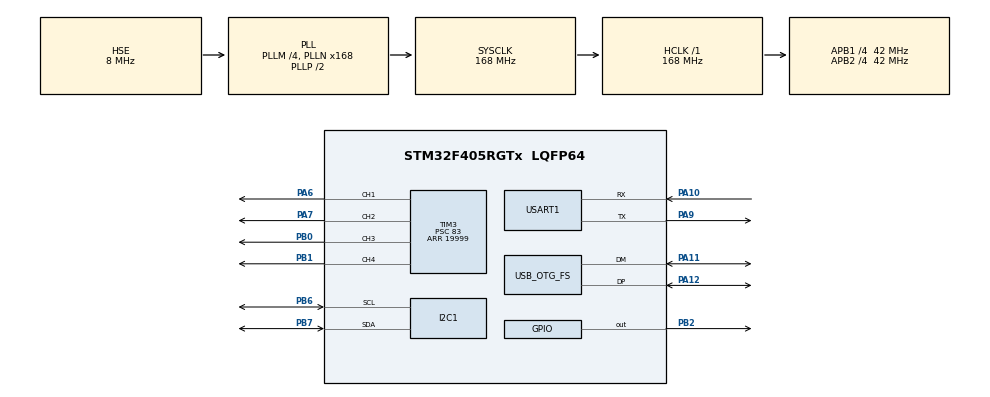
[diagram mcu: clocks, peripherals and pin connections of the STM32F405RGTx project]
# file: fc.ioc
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Dma.I2C1_RX.1.Direction=DMA_PERIPH_TO_MEMORY
Dma.I2C1_RX.1.FIFOMode=DMA_FIFOMODE_DISABLE
Dma.I2C1_RX.1.Instance=DMA1_Stream5
Dma.I2C1_RX.1.MemDataAlignment=DMA_MDATAALIGN_BYTE
Dma.I2C1_RX.1.MemInc=DMA_MINC_ENABLE
Dma.I2C1_RX.1.Mode=DMA_NORMAL
Dma.I2C1_RX.1.PeriphDataAlignment=DMA_PDATAALIGN_BYTE
Dma.I2C1_RX.1.PeriphInc=DMA_PINC_DISABLE
Dma.I2C1_RX.1.Priority=DMA_PRIORITY_HIGH
Dma.Request0=USART1_RX
Dma.Request1=I2C1_RX
Dma.USART1_RX.0.Direction=DMA_PERIPH_TO_MEMORY
Dma.USART1_RX.0.FIFOMode=DMA_FIFOMODE_DISABLE
Dma.USART1_RX.0.Instance=DMA2_Stream2
Dma.USART1_RX.0.MemDataAlignment=DMA_MDATAALIGN_BYTE
Dma.USART1_RX.0.MemInc=DMA_MINC_ENABLE
Dma.USART1_RX.0.Mode=DMA_CIRCULAR
Dma.USART1_RX.0.PeriphDataAlignment=DMA_PDATAALIGN_BYTE
Dma.USART1_RX.0.PeriphInc=DMA_PINC_DISABLE
Dma.USART1_RX.0.Priority=DMA_PRIORITY_HIGH
Mcu.Family=STM32F4
Mcu.Name=STM32F405RGTx
Mcu.Package=LQFP64
NVIC.DMA1_Stream5_IRQn=true\:0\:0\:false\:false\:true\:false\:true\:true
NVIC.DMA2_Stream2_IRQn=true\:0\:0\:false\:false\:true\:false\:true\:true
NVIC.OTG_FS_IRQn=true\:0\:0\:false\:false\:true\:false\:true\:true
NVIC.PriorityGroup=NVIC_PRIORITYGROUP_4
PA10.Mode=Asynchronous
PA10.Signal=USART1_RX
PA11.Mode=Device_Only
PA11.Signal=USB_OTG_FS_DM
PA12.Mode=Device_Only
PA12.Signal=USB_OTG_FS_DP
PA13.Mode=Serial_Wire
PA13.Signal=SYS_JTMS-SWDIO
PA14.Mode=Serial_Wire
PA14.Signal=SYS_JTCK-SWCLK
PA6.Signal=S_TIM3_CH1
PA7.Signal=S_TIM3_CH2
PA9.Mode=Asynchronous
PA9.Signal=USART1_TX
PB0.Signal=S_TIM3_CH3
PB1.Signal=S_TIM3_CH4
PB2.Signal=GPIO_Output
PB6.Mode=I2C
PB6.Signal=I2C1_SCL
PB7.Mode=I2C
PB7.Signal=I2C1_SDA
PH0-OSC_IN.Mode=HSE-External-Oscillator
PH0-OSC_IN.Signal=RCC_OSC_IN
PH1-OSC_OUT.Mode=HSE-External-Oscillator
PH1-OSC_OUT.Signal=RCC_OSC_OUT
ProjectManager.HeapSize=0x200
ProjectManager.StackSize=0x400
ProjectManager.TargetToolchain=STM32CubeIDE
RCC.48MHZClocksFreq_Value=48000000
RCC.AHBFreq_Value=168000000
RCC.APB1CLKDivider=RCC_HCLK_DIV4
RCC.APB1Freq_Value=42000000
RCC.APB1TimFreq_Value=84000000
RCC.APB2CLKDivider=RCC_HCLK_DIV4
RCC.APB2Freq_Value=42000000
RCC.APB2TimFreq_Value=84000000
RCC.CortexFreq_Value=168000000
RCC.HCLKFreq_Value=168000000
RCC.HSE_VALUE=8000000
RCC.HSI_VALUE=16000000
RCC.LSE_VALUE=32768
RCC.PLLM=4
RCC.PLLN=168
RCC.PLLQ=7
RCC.SYSCLKFreq_VALUE=168000000
RCC.SYSCLKSource=RCC_SYSCLKSOURCE_PLLCLK
RCC.VCOOutputFreq_Value=336000000
SH.S_TIM3_CH1.0=TIM3_CH1,PWM Generation1 CH1
SH.S_TIM3_CH2.0=TIM3_CH2,PWM Generation2 CH2
SH.S_TIM3_CH3.0=TIM3_CH3,PWM Generation3 CH3
SH.S_TIM3_CH4.0=TIM3_CH4,PWM Generation4 CH4
TIM3.Channel-PWM\ Generation1\ CH1=TIM_CHANNEL_1
TIM3.Channel-PWM\ Generation2\ CH2=TIM_CHANNEL_2
TIM3.Channel-PWM\ Generation3\ CH3=TIM_CHANNEL_3
TIM3.Channel-PWM\ Generation4\ CH4=TIM_CHANNEL_4
TIM3.Period=19999
TIM3.Prescaler=83
USART1.VirtualMode=VM_ASYNC
USB_DEVICE.CLASS_NAME_FS=CDC
USB_DEVICE.VirtualMode-CDC_FS=Cdc
USB_DEVICE.VirtualModeFS=Cdc_FS
USB_OTG_FS.VirtualMode=Device_Only
VP_USB_DEVICE_VS_USB_DEVICE_CDC_FS.Mode=CDC_FS
board=custom

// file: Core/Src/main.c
/* USER CODE BEGIN Header */
/**
  ******************************************************************************
  * @file           : main.c
  * @brief          : Main program body
  ******************************************************************************
  * @attention
  *
  * Copyright (c) 2025 STMicroelectronics.
  * All rights reserved.
  *
  * This software is licensed under terms that can be found in the LICENSE file
  * in the root directory of this software component.
  * If no LICENSE file comes with this software, it is provided AS-IS.
  *
  ******************************************************************************
  */
/* USER CODE END Header */
#include "main.h"
#include "usb_device.h"

/* USER CODE BEGIN Includes */
#include "ibus.h"
#include "flysky.h"
#include "imu_fusion.h"
#include "flight_manager.h"

#include <string.h>
/* USER CODE END Includes */

/* USER CODE BEGIN PD */

#define CONTROL_LOOP_INTERVAL_MS 4

/* USER CODE END PD */

I2C_HandleTypeDef hi2c1;
DMA_HandleTypeDef hdma_i2c1_rx;

TIM_HandleTypeDef htim3;

UART_HandleTypeDef huart1;
DMA_HandleTypeDef hdma_usart1_rx;

/* USER CODE BEGIN PV */

uint16_t ibus_data[IBUS_USER_CHANNELS];

/* USER CODE END PV */

void SystemClock_Config(void);
static void MX_GPIO_Init(void);
static void MX_DMA_Init(void);
static void MX_USART1_UART_Init(void);
static void MX_I2C1_Init(void);
static void MX_TIM3_Init(void);
/* USER CODE BEGIN PFP */

void HAL_UART_RxCpltCallback(UART_HandleTypeDef *huart);

/* USER CODE END PFP */

int main(void)
{

  /* MCU Configuration--------------------------------------------------------*/

  /* Reset of all peripherals, Initializes the Flash interface and the Systick. */
  HAL_Init();

  /* Configure the system clock */
  SystemClock_Config();

  /* Initialize all configured peripherals */
  MX_GPIO_Init();
  MX_DMA_Init();
  MX_USB_DEVICE_Init();
  HAL_Delay(1000);
  MX_USART1_UART_Init();
  MX_I2C1_Init();
  MX_TIM3_Init();
  /* USER CODE BEGIN 2 */

  ibus_init();
  mpu6050Config();
  mpu6050Read_DMA();
  imu_fusion_init();

  flight_manager_init();
  uint32_t last_loop_time = HAL_GetTick();

  /* USER CODE END 2 */

  /* Infinite loop */
  /* USER CODE BEGIN WHILE */

  while (1)
  {

	  uint32_t now = HAL_GetTick();
	  if ((now - last_loop_time) >= CONTROL_LOOP_INTERVAL_MS)
	  {
		  flysky_process(ibus_data);
		  flight_manager_update();
		  last_loop_time = now;
	  }

    /* USER CODE END WHILE */
  }
}

void SystemClock_Config(void)
{
  RCC_OscInitTypeDef RCC_OscInitStruct = {0};
  RCC_ClkInitTypeDef RCC_ClkInitStruct = {0};

  /** Configure the main internal regulator output voltage
  */
  __HAL_RCC_PWR_CLK_ENABLE();
  __HAL_PWR_VOLTAGESCALING_CONFIG(PWR_REGULATOR_VOLTAGE_SCALE1);

  /** Initializes the RCC Oscillators according to the specified parameters
  * in the RCC_OscInitTypeDef structure.
  */
  RCC_OscInitStruct.OscillatorType = RCC_OSCILLATORTYPE_HSE;
  RCC_OscInitStruct.HSEState = RCC_HSE_ON;
  RCC_OscInitStruct.PLL.PLLState = RCC_PLL_ON;
  RCC_OscInitStruct.PLL.PLLSource = RCC_PLLSOURCE_HSE;
  RCC_OscInitStruct.PLL.PLLM = 4;
  RCC_OscInitStruct.PLL.PLLN = 168;
  RCC_OscInitStruct.PLL.PLLP = RCC_PLLP_DIV2;
  RCC_OscInitStruct.PLL.PLLQ = 7;
  if (HAL_RCC_OscConfig(&RCC_OscInitStruct) != HAL_OK)
  {
    Error_Handler();
  }

  /** Initializes the CPU, AHB and APB buses clocks
  */
  RCC_ClkInitStruct.ClockType = RCC_CLOCKTYPE_HCLK|RCC_CLOCKTYPE_SYSCLK
                              |RCC_CLOCKTYPE_PCLK1|RCC_CLOCKTYPE_PCLK2;
  RCC_ClkInitStruct.SYSCLKSource = RCC_SYSCLKSOURCE_PLLCLK;
  RCC_ClkInitStruct.AHBCLKDivider = RCC_SYSCLK_DIV1;
  RCC_ClkInitStruct.APB1CLKDivider = RCC_HCLK_DIV4;
  RCC_ClkInitStruct.APB2CLKDivider = RCC_HCLK_DIV4;

  if (HAL_RCC_ClockConfig(&RCC_ClkInitStruct, FLASH_LATENCY_5) != HAL_OK)
  {
    Error_Handler();
  }
}

static void MX_I2C1_Init(void)
{

  hi2c1.Instance = I2C1;
  hi2c1.Init.ClockSpeed = 100000;
  hi2c1.Init.DutyCycle = I2C_DUTYCYCLE_2;
  hi2c1.Init.OwnAddress1 = 0;
  hi2c1.Init.AddressingMode = I2C_ADDRESSINGMODE_7BIT;
  hi2c1.Init.DualAddressMode = I2C_DUALADDRESS_DISABLE;
  hi2c1.Init.OwnAddress2 = 0;
  hi2c1.Init.GeneralCallMode = I2C_GENERALCALL_DISABLE;
  hi2c1.Init.NoStretchMode = I2C_NOSTRETCH_DISABLE;
  if (HAL_I2C_Init(&hi2c1) != HAL_OK)
  {
    Error_Handler();
  }

}

static void MX_TIM3_Init(void)
{

  TIM_MasterConfigTypeDef sMasterConfig = {0};
  TIM_OC_InitTypeDef sConfigOC = {0};

  htim3.Instance = TIM3;
  htim3.Init.Prescaler = 83;
  htim3.Init.CounterMode = TIM_COUNTERMODE_UP;
  htim3.Init.Period = 19999;
  htim3.Init.ClockDivision = TIM_CLOCKDIVISION_DIV1;
  htim3.Init.AutoReloadPreload = TIM_AUTORELOAD_PRELOAD_DISABLE;
  if (HAL_TIM_PWM_Init(&htim3) != HAL_OK)
  {
    Error_Handler();
  }
  sMasterConfig.MasterOutputTrigger = TIM_TRGO_RESET;
  sMasterConfig.MasterSlaveMode = TIM_MASTERSLAVEMODE_DISABLE;
  if (HAL_TIMEx_MasterConfigSynchronization(&htim3, &sMasterConfig) != HAL_OK)
  {
    Error_Handler();
  }
  sConfigOC.OCMode = TIM_OCMODE_PWM1;
  sConfigOC.Pulse = 0;
  sConfigOC.OCPolarity = TIM_OCPOLARITY_HIGH;
  sConfigOC.OCFastMode = TIM_OCFAST_DISABLE;
  if (HAL_TIM_PWM_ConfigChannel(&htim3, &sConfigOC, TIM_CHANNEL_1) != HAL_OK)
  {
    Error_Handler();
  }
  if (HAL_TIM_PWM_ConfigChannel(&htim3, &sConfigOC, TIM_CHANNEL_2) != HAL_OK)
  {
    Error_Handler();
  }
  if (HAL_TIM_PWM_ConfigChannel(&htim3, &sConfigOC, TIM_CHANNEL_3) != HAL_OK)
  {
    Error_Handler();
  }
  if (HAL_TIM_PWM_ConfigChannel(&htim3, &sConfigOC, TIM_CHANNEL_4) != HAL_OK)
  {
    Error_Handler();
  }
  /* USER CODE BEGIN TIM3_Init 2 */
  HAL_TIM_Base_Start(&htim3);
  HAL_TIM_PWM_Start(&htim3, TIM_CHANNEL_1);  // PA6
  HAL_TIM_PWM_Start(&htim3, TIM_CHANNEL_2);  // PA7
  HAL_TIM_PWM_Start(&htim3, TIM_CHANNEL_3);  // PB0
  HAL_TIM_PWM_Start(&htim3, TIM_CHANNEL_4);  // PB1

  /* USER CODE END TIM3_Init 2 */
  HAL_TIM_MspPostInit(&htim3);

}

static void MX_USART1_UART_Init(void)
{

  huart1.Instance = USART1;
  huart1.Init.BaudRate = 115200;
  huart1.Init.WordLength = UART_WORDLENGTH_8B;
  huart1.Init.StopBits = UART_STOPBITS_1;
  huart1.Init.Parity = UART_PARITY_NONE;
  huart1.Init.Mode = UART_MODE_TX_RX;
  huart1.Init.HwFlowCtl = UART_HWCONTROL_NONE;
  huart1.Init.OverSampling = UART_OVERSAMPLING_16;
  if (HAL_UART_Init(&huart1) != HAL_OK)
  {
    Error_Handler();
  }

}

static void MX_DMA_Init(void)
{

  /* DMA controller clock enable */
  __HAL_RCC_DMA2_CLK_ENABLE();
  __HAL_RCC_DMA1_CLK_ENABLE();

  /* DMA interrupt init */
  /* DMA1_Stream5_IRQn interrupt configuration */
  HAL_NVIC_SetPriority(DMA1_Stream5_IRQn, 0, 0);
  HAL_NVIC_EnableIRQ(DMA1_Stream5_IRQn);
  /* DMA2_Stream2_IRQn interrupt configuration */
  HAL_NVIC_SetPriority(DMA2_Stream2_IRQn, 0, 0);
  HAL_NVIC_EnableIRQ(DMA2_Stream2_IRQn);

}

static void MX_GPIO_Init(void)
{
  GPIO_InitTypeDef GPIO_InitStruct = {0};

  /* GPIO Ports Clock Enable */
  __HAL_RCC_GPIOH_CLK_ENABLE();
  __HAL_RCC_GPIOA_CLK_ENABLE();
  __HAL_RCC_GPIOB_CLK_ENABLE();

  /*Configure GPIO pin Output Level */
  HAL_GPIO_WritePin(GPIOB, GPIO_PIN_2, GPIO_PIN_RESET);

  /*Configure GPIO pin : PB2 */
  GPIO_InitStruct.Pin = GPIO_PIN_2;
  GPIO_InitStruct.Mode = GPIO_MODE_OUTPUT_PP;
  GPIO_InitStruct.Pull = GPIO_NOPULL;
  GPIO_InitStruct.Speed = GPIO_SPEED_FREQ_LOW;
  HAL_GPIO_Init(GPIOB, &GPIO_InitStruct);

}

/* USER CODE BEGIN 4 */

void HAL_UART_RxCpltCallback(UART_HandleTypeDef *huart)
{
	if(huart == IBUS_UART)
		ibus_reset_failsafe();
}

/* USER CODE END 4 */

void Error_Handler(void)
{
  __disable_irq();
  while (1)
  {
  }
}
